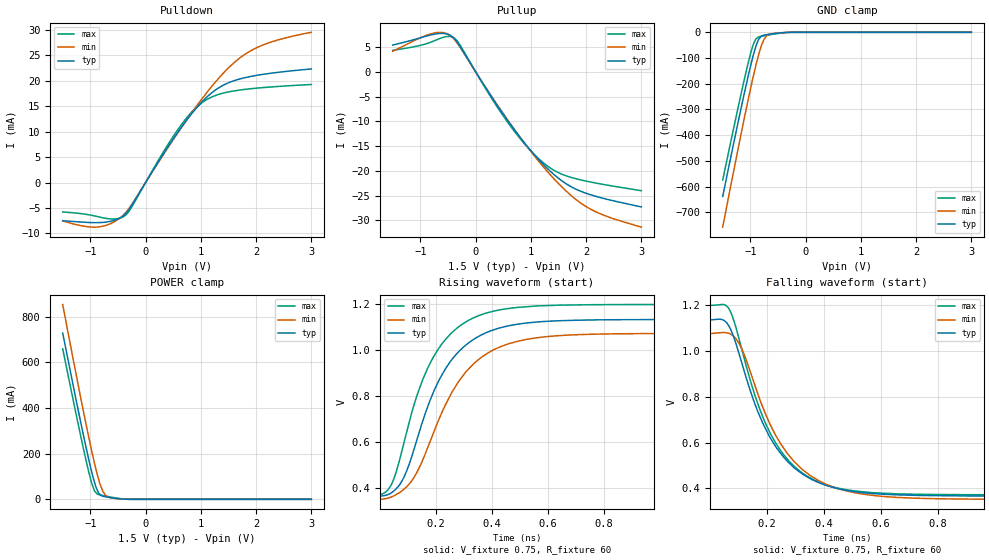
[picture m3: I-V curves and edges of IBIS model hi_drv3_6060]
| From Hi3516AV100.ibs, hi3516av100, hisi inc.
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|   Model hi_drv3_6060
[Model]   hi_drv3_6060
Model_type   I/O
Polarity   Non-Inverting
Enable   Active-High
Vinl = 0.575
Vinh = 0.925
Vmeas = 0.75
Cref = 0
Rref = 60
Vref = 0.75
| variable   typ   min   max
C_comp   3.71825p   3.5711p   3.88438p
| Subparameter   typ   min   max
[Model Spec]
Vinl   0.575   0.575   0.575
Vinh   0.925   0.925   0.925
Vmeas   0.75   0.75   0.75
Cref   0   0   0
Rref   60   60   60
Vref   0.75   0.75   0.75
| Variable   typ   min   max
[Temperature Range] 25   125   -40
| Variable   typ   min   max
[Voltage Range]   1.5   1.425   1.575
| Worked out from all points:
|   slope of the pulldown table from 0 to 0.225 V, typ, clamps not added: 56.7 ohm
|   slope of the pullup table from 0 to 0.225 V, typ, clamps not added: 56.5 ohm
|   GND clamp passes 1 mA (typ) near -0.39 V on its own axis
|   POWER clamp passes 1 mA (typ) near -0.41 V on its own axis
|   rising waveform, V_fixture 0.75, R_fixture 60: 20-80 % time 162ps typ, 182ps min, 152ps max; typ from 0.367 V to 1.13 V
|   falling waveform, V_fixture 0.75, R_fixture 60: 20-80 % time 167ps typ, 176ps min, 159ps max; typ from 1.14 V to 0.367 V
[Power_clamp]
| Note that the [POWER_clamp] voltage table is referenced to Vcc
| and is calculated using Vtable=Vcc - Vmeasured.
| Voltage   I(typ)   I(min)   I(max)
-1.5V     727.7mA    852.8mA    658.7mA
-1.125V   281.1mA    385.1mA    221.9mA
-1.025V   171mA      267.7mA    116.1mA
-975mV    120.3mA    211.6mA    70.26mA
-925mV    75.44mA    158.3mA    36.86mA
-900mV    54.88mA    133.8mA    29.99mA
-850mV    27.44mA    88.23mA    21.16mA
-775mV    14.07mA    35.68mA    16.66mA
-725mV    11.03mA    17.7mA     14.3mA
-625mV    7.126mA    6.658mA    9.778mA
-325mV    220.9uA    245.7uA    291.3uA
3V        -35.46nA   -806.7nA   -14.61nA
[Pulldown]
| Voltage   I(typ)   I(min)   I(max)
-1.5V     -7.506mA   -7.543mA   -5.79mA
-900mV    -7.89mA    -8.772mA   -6.619mA
-650mV    -7.657mA   -8.154mA   -7.14mA
-450mV    -6.89mA    -6.861mA   -6.961mA
-300mV    -5.291mA   -5.09mA    -5.659mA
600mV     10.13mA    10.04mA    10.66mA
850mV     13.75mA    13.95mA    14.05mA
1.05V     16.2mA     16.88mA    15.94mA
1.4V      19.11mA    21.44mA    17.58mA
1.85V     20.75mA    25.58mA    18.39mA
2.3V      21.55mA    27.74mA    18.83mA
3V        22.35mA    29.55mA    19.29mA
[Pullup]
| Voltage   I(typ)   I(min)   I(max)
-1.5V     5.381mA    4.122mA    4.313mA
-825mV    7.38mA     7.596mA    5.905mA
-625mV    7.73mA     7.952mA    6.795mA
-475mV    7.433mA    7.419mA    7.13mA
-325mV    5.848mA    5.66mA     6.114mA
225mV     -3.98mA    -3.872mA   -4.194mA
675mV     -11.31mA   -11.21mA   -11.62mA
1.225V    -18.7mA    -19.17mA   -18.37mA
1.6V      -22.32mA   -23.67mA   -20.85mA
1.975V    -24.43mA   -27.04mA   -22.01mA
2.375V    -25.73mA   -29.19mA   -22.87mA
3V        -27.29mA   -31.37mA   -24mA
[GND_clamp]
| Voltage   I(typ)   I(min)   I(max)
-1.5V     -638.4mA   -758mA     -574.9mA
-1.15V    -277.9mA   -376.6mA   -222.6mA
-1.05V    -180.7mA   -272.8mA   -128.8mA
-950mV    -91.74mA   -174.3mA   -48.96mA
-900mV    -54.39mA   -128.6mA   -25.47mA
-850mV    -27.43mA   -86.91mA   -17.81mA
-800mV    -14.76mA   -51.66mA   -15.26mA
-750mV    -10.72mA   -26.32mA   -13.3mA
-700mV    -8.829mA   -12.74mA   -11.42mA
-600mV    -5.884mA   -5.023mA   -7.823mA
-300mV    -153uA     -214.7uA   -185.4uA
3V        64.26nA    942.4nA    12.95nA
[Ramp]
| Variable   typ   min   max
dV/dt_r   0.462729/0.166761n 0.436502/0.176138n 0.497754/0.15867n
dV/dt_f   0.462729/0.166761n 0.436502/0.176138n 0.497754/0.15867n
R_load = 60
[Rising_Waveform]
V_fixture = 0.75
V_fixture_min = 0.7125
V_fixture_max = 0.7875
R_fixture = 60
| Time   V(typ)   V(min)   V(max)
900fs     366.6mV    352.5mV    373.4mV
50.62ps   389.9mV    368.2mV    445.2mV
84.73ps   446.2mV    395.4mV    595.5mV
118.3ps   556.8mV    441.1mV    749.1mV
171.7ps   758.6mV    580.1mV    925.6mV
245.5ps   940.5mV    790.3mV    1.062V
307.4ps   1.023V     906.7mV    1.123V
391ps     1.082V     992mV      1.165V
631.2ps   1.128V     1.063V     1.195V
18.55ns   1.133V     1.073V     1.199V
[Falling_Waveform]
V_fixture = 0.75
V_fixture_min = 0.7125
V_fixture_max = 0.7875
R_fixture = 60
| Time   V(typ)   V(min)   V(max)
670fs     1.135V     1.075V     1.198V
60.11ps   1.12V      1.078V     1.194V
91.99ps   1.027V     1.051V     1.097V
146.1ps   808mV      891.2mV    850.3mV
186ps     681.9mV    750.7mV    709.1mV
228.6ps   586.3mV    635.2mV    601.8mV
284.2ps   503.1mV    533.3mV    510.1mV
425.4ps   406.6mV    409.2mV    408.8mV
646.5ps   372.5mV    361.7mV    376.6mV
18.55ns   366.9mV    352.6mV    372.6mV
